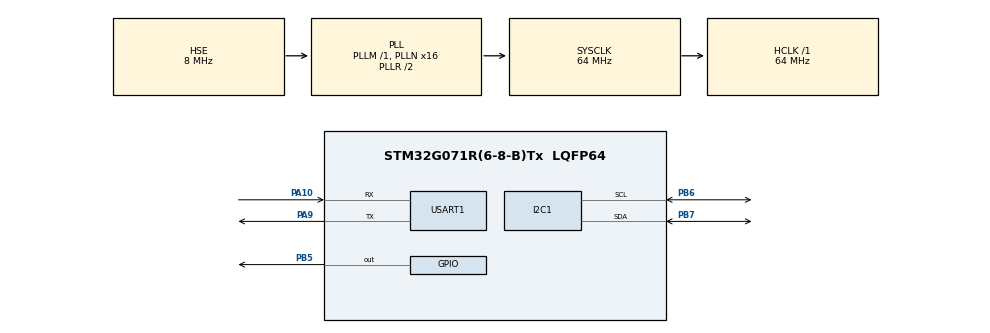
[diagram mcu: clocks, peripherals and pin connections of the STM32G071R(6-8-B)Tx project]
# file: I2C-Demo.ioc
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I2C1.Timing=0x10707DBC
Mcu.Family=STM32G0
Mcu.Name=STM32G071R(6-8-B)Tx
Mcu.Package=LQFP64
PA10.Mode=Asynchronous
PA10.Signal=USART1_RX
PA13.Mode=Serial_Wire
PA13.Signal=SYS_SWDIO
PA14-BOOT0.Mode=Serial_Wire
PA14-BOOT0.Signal=SYS_SWCLK
PA9.Mode=Asynchronous
PA9.Signal=USART1_TX
PB5.GPIO_ModeDefaultOutputPP=GPIO_MODE_OUTPUT_PP
PB5.GPIO_PuPd=GPIO_PULLUP
PB5.GPIO_Speed=GPIO_SPEED_FREQ_LOW
PB5.PinState=GPIO_PIN_RESET
PB5.Signal=GPIO_Output
PB6.GPIO_PuPdOD=GPIO_NOPULL
PB6.Mode=I2C
PB6.Signal=I2C1_SCL
PB7.GPIO_PuPdOD=GPIO_NOPULL
PB7.Mode=I2C
PB7.Signal=I2C1_SDA
PC14-OSC32_IN\ (PC14).Mode=LSE-External-Oscillator
PC14-OSC32_IN\ (PC14).Signal=RCC_OSC32_IN
PC15-OSC32_OUT\ (PC15).Mode=LSE-External-Oscillator
PC15-OSC32_OUT\ (PC15).Signal=RCC_OSC32_OUT
PF0-OSC_IN\ (PF0).Mode=HSE-External-Oscillator
PF0-OSC_IN\ (PF0).Signal=RCC_OSC_IN
PF1-OSC_OUT\ (PF1).Mode=HSE-External-Oscillator
PF1-OSC_OUT\ (PF1).Signal=RCC_OSC_OUT
ProjectManager.HeapSize=0x200
ProjectManager.StackSize=0x400
ProjectManager.TargetToolchain=MDK-ARM V5
RCC.ADCFreq_Value=64000000
RCC.AHBFreq_Value=64000000
RCC.CortexFreq_Value=64000000
RCC.EXTERNAL_CLOCK_VALUE=48000
RCC.HCLKFreq_Value=64000000
RCC.HSE_VALUE=8000000
RCC.HSI_VALUE=16000000
RCC.PLLN=16
RCC.PLLSourceVirtual=RCC_PLLSOURCE_HSE
RCC.SYSCLKFreq_VALUE=64000000
RCC.SYSCLKSource=RCC_SYSCLKSOURCE_PLLCLK
RCC.VCOOutputFreq_Value=128000000
USART1.VirtualMode-Asynchronous=VM_ASYNC
VP_SYS_VS_DBSignals.Mode=DisableDeadBatterySignals
board=custom

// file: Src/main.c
/* USER CODE BEGIN Header */
/**
  ******************************************************************************
  * @file           : main.c
  * @brief          : Main program body
  ******************************************************************************
  * @attention
  *
  * <h2><center>&copy; Copyright (c) 2020 STMicroelectronics.
  * All rights reserved.</center></h2>
  *
  * This software component is licensed by ST under BSD 3-Clause license,
  * the "License"; You may not use this file except in compliance with the
  * License. You may obtain a copy of the License at:
  *                        opensource.org/licenses/BSD-3-Clause
  *
  ******************************************************************************
  */
/* USER CODE END Header */

#include "main.h"
#include "i2c.h"
#include "usart.h"
#include "gpio.h"

/* USER CODE BEGIN Includes */

#include <stdio.h>
#include <string.h>
uint16_t i;

/* USER CODE END Includes */

void SystemClock_Config(void);

int main(void)
{

  /* MCU Configuration--------------------------------------------------------*/

  /* Reset of all peripherals, Initializes the Flash interface and the Systick. */
  HAL_Init();

  /* Configure the system clock */
  SystemClock_Config();

  /* Initialize all configured peripherals */
  MX_GPIO_Init();
  MX_I2C1_Init();
  MX_USART1_UART_Init();
  /* USER CODE BEGIN 2 */
  uint8_t writerbuff[BufferSize]="This is a test.";
	uint8_t readbuff[BufferSize];
  HAL_GPIO_WritePin(GPIOB,GPIO_PIN_5,GPIO_PIN_RESET);                        //Pull down to enable the chip.
  if(HAL_I2C_Mem_Write(&hi2c1,ADDR_24LC08_WRITE,0,I2C_MEMADD_SIZE_8BIT,writerbuff,BufferSize,0x10)==HAL_OK)
    printf("Write succeeded.\r\n");
  else
    printf("Write failed.\r\n");
	HAL_Delay(5);                                                              //Wait for the write cycle to complete.
  HAL_I2C_Mem_Read(&hi2c1,ADDR_24LC08_READ,0,I2C_MEMADD_SIZE_8BIT,readbuff,BufferSize,0x10);
	printf("The data in the chip is as follows:\r\n");
  for(i=0;i<BufferSize;i++)
  {
    printf("%c",readbuff[i]);
  }
	if(memcmp(writerbuff,readbuff,BufferSize)==0)
    printf("\r\nVerification succeeded.\r\n");
  else
    printf("\r\nVerification failed.\r\n");
  /* USER CODE END 2 */

  /* Infinite loop */
  while (1)
  {

  }
}

void SystemClock_Config(void)
{
  RCC_OscInitTypeDef RCC_OscInitStruct = {0};
  RCC_ClkInitTypeDef RCC_ClkInitStruct = {0};
  RCC_PeriphCLKInitTypeDef PeriphClkInit = {0};

  /** Configure the main internal regulator output voltage
  */
  HAL_PWREx_ControlVoltageScaling(PWR_REGULATOR_VOLTAGE_SCALE1);
  /** Initializes the CPU, AHB and APB busses clocks
  */
  RCC_OscInitStruct.OscillatorType = RCC_OSCILLATORTYPE_HSE;
  RCC_OscInitStruct.HSEState = RCC_HSE_ON;
  RCC_OscInitStruct.PLL.PLLState = RCC_PLL_ON;
  RCC_OscInitStruct.PLL.PLLSource = RCC_PLLSOURCE_HSE;
  RCC_OscInitStruct.PLL.PLLM = RCC_PLLM_DIV1;
  RCC_OscInitStruct.PLL.PLLN = 16;
  RCC_OscInitStruct.PLL.PLLP = RCC_PLLP_DIV2;
  RCC_OscInitStruct.PLL.PLLQ = RCC_PLLQ_DIV2;
  RCC_OscInitStruct.PLL.PLLR = RCC_PLLR_DIV2;
  if (HAL_RCC_OscConfig(&RCC_OscInitStruct) != HAL_OK)
  {
    Error_Handler();
  }
  /** Initializes the CPU, AHB and APB busses clocks
  */
  RCC_ClkInitStruct.ClockType = RCC_CLOCKTYPE_HCLK|RCC_CLOCKTYPE_SYSCLK
                              |RCC_CLOCKTYPE_PCLK1;
  RCC_ClkInitStruct.SYSCLKSource = RCC_SYSCLKSOURCE_PLLCLK;
  RCC_ClkInitStruct.AHBCLKDivider = RCC_SYSCLK_DIV1;
  RCC_ClkInitStruct.APB1CLKDivider = RCC_HCLK_DIV1;

  if (HAL_RCC_ClockConfig(&RCC_ClkInitStruct, FLASH_LATENCY_2) != HAL_OK)
  {
    Error_Handler();
  }
  /** Initializes the peripherals clocks
  */
  PeriphClkInit.PeriphClockSelection = RCC_PERIPHCLK_USART1|RCC_PERIPHCLK_I2C1;
  PeriphClkInit.Usart1ClockSelection = RCC_USART1CLKSOURCE_PCLK1;
  PeriphClkInit.I2c1ClockSelection = RCC_I2C1CLKSOURCE_PCLK1;
  if (HAL_RCCEx_PeriphCLKConfig(&PeriphClkInit) != HAL_OK)
  {
    Error_Handler();
  }
}

void Error_Handler(void)
{
}

/************************ (C) COPYRIGHT STMicroelectronics *****END OF FILE****/
